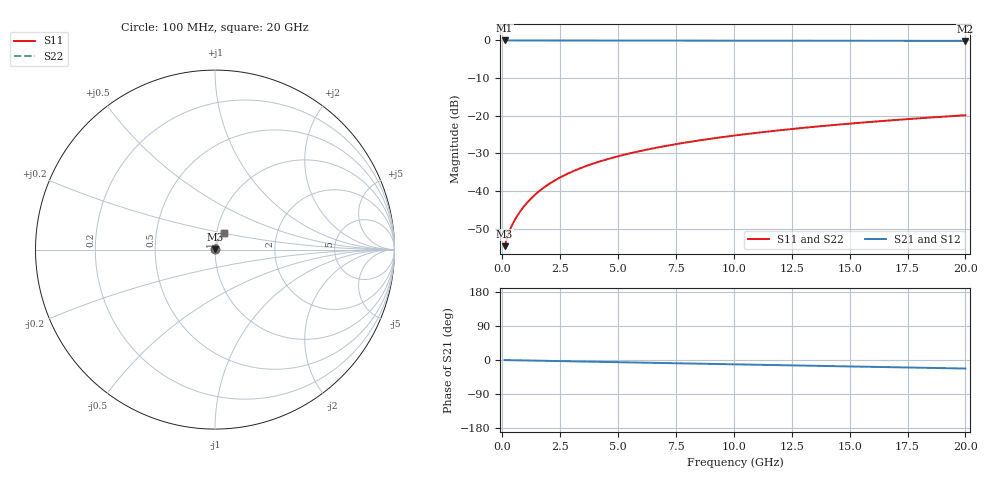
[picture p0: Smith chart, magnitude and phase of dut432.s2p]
! Touchstone file exported from HFSS 2026.1.0
!  File:  C:/ffzhzh/LocalFiles/Ansys_Project_Files/temp_train_BSMRDL_432_1783012920_53980.aedt
!  Generated:  01:23:25 AM Jul  3, 2026
!  Design:  BSMRDL
!  Project:  temp_train_BSMRDL_432_1783012920_53980
! Variables:
!  h_bsmrdl = 4.47um
!  h_ox = 20um
!  h_rdl = 5um
!  h_sub = 80um
!  h_tmrdl = 5um
!  h_tsv = 80um
!  h_via = 3um
!  l_bsmrdl = 378.32um
!  l_sub = 778.32um
!  l_tmrdl = 200um
!  m_sub = 200um
!  pitch = 29.27um
!  r_tsv = 6um
!  s_tmrdl = 10um
!  w_bsmrdl = 20.39um
!  w_sub = 500um
!  w_tmrdl = 12um
!  x_tsv_center1 = 206um
!  x_tsv_center2 = 604.71um
!  x_tsv_center3 = 816.71um
!  x_tsv_center4 = 1215.42um
!  x_tsv_center5 = 1427.42um
!  x_tsv_center6 = 1826.13um
# GHz S MA R 50.000000
! Terminal data exported
! Port[1] = BSM_RDL1_1_T1
! Port[2] = BSM_RDL1_1_T2
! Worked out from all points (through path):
!   200 points, 100 MHz to 20 GHz, reference 50 ohm
!   highest |S21| = -0.01 dB at 100 MHz (marker M1); lowest = -0.1 dB at 20 GHz (marker M2)
!   group delay of S21, straight-line fit = 3.12 ps
!   lowest |S11| = -54.6 dB at 100 MHz (marker M3), VSWR 1.00, Z = 50.2 + j0.0815 ohm
!   |S11| at or under -10 dB: start of sweep to end of sweep
!   |S22| runs from -54.6 to -19.9 dB; largest |S21 - S12| = 6e-15
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0.1  0.001857 25.9  0.9983 -0.1  0.9983 -0.1  0.001857 25.9
! Gamma 0 0 0 0
! Port Impedance 50 0 50 0
0.2  0.002376 39.7  0.9982 -0.3  0.9982 -0.3  0.002376 39.6
0.3  0.002906 47.2  0.998 -0.4  0.998 -0.4  0.002905 47.2
0.4  0.003419 52.4  0.9979 -0.5  0.9979 -0.5  0.003418 52.4
0.5  0.00393 56.5  0.9978 -0.6  0.9978 -0.6  0.003929 56.5
0.8  0.005515 64.8  0.9977 -1.0  0.9977 -1.0  0.005514 64.8
1  0.006616 68.1  0.9976 -1.2  0.9976 -1.2  0.006615 68.1
1.2  0.00774 70.5  0.9975 -1.4  0.9975 -1.4  0.00774 70.5
1.4  0.008878 72.2  0.9975 -1.7  0.9975 -1.7  0.008877 72.2
1.7  0.0106 73.9  0.9973 -2.0  0.9973 -2.0  0.0106 73.9
2.2  0.01347 75.4  0.9971 -2.6  0.9971 -2.6  0.01347 75.4
2.8  0.01689 76.1  0.9967 -3.3  0.9967 -3.3  0.01689 76.1
3.5  0.02082 76.3  0.9963 -4.1  0.9963 -4.1  0.02082 76.3
4.2  0.02467 76.1  0.9958 -4.9  0.9958 -4.9  0.02467 76.1
5  0.02898 75.6  0.9953 -5.8  0.9953 -5.8  0.02898 75.6
5.9  0.03374 75.0  0.9946 -6.8  0.9946 -6.8  0.03373 75.0
6.8  0.0384 74.2  0.994 -7.8  0.994 -7.8  0.0384 74.3
8.3  0.04603 73.0  0.993 -9.5  0.993 -9.5  0.04602 73.0
10.1  0.05498 71.4  0.9918 -11.5  0.9918 -11.5  0.05498 71.5
13.4  0.07099 68.5  0.9897 -15.2  0.9897 -15.2  0.07099 68.5
16.7  0.08653 65.3  0.9875 -18.9  0.9875 -18.9  0.08652 65.4
20  0.1016 62.1  0.9853 -22.5  0.9853 -22.5  0.1015 62.2
